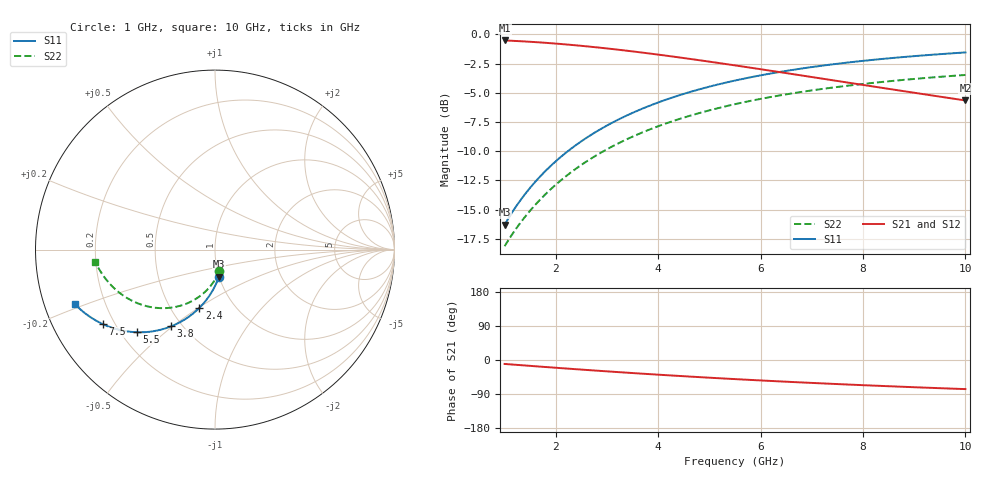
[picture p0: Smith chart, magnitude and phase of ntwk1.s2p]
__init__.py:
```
"""
data (:mod:`skrf.data`)
========================================

This Package provides data to be used in examples and testcases.

Material Properties
-------------------
.. autosummary::
   :toctree: generated/

    materials

Example/Test Networks
---------------------
.. autosummary::
   :toctree: generated/

    ring_slot
    ring_slot_meas
    line
    tee
    ind
    open_2p
    short_2p

"""
from __future__ import annotations

import os
from typing import TYPE_CHECKING

from ..io.general import read
from ..network import Network

if TYPE_CHECKING:
    from ..calibration import Calibration

pwd = os.path.dirname(os.path.abspath(__file__))

class StaticData:

    @property
    def ntwk1(self) -> Network:
        return Network(os.path.join(pwd, 'ntwk1.s2p'))

    @property
    def line(self) -> Network:
        """ 2-Port Network: 'line',  75.0-110.0 GHz, 201 pts, z0=[50.+0.j 50.+0.j] """
        return Network(os.path.join(pwd, 'line.s2p'))

    @property
    def open_2p(self) -> Network:
        """ 2-Port Network: 'open',  1000000000.0-10000000000.0 Hz, 10 pts, z0=[50.+0.j 50.+0.j] """
        return Network(os.path.join(pwd, 'open.s2p'))

    @property
    def short_2p(self) -> Network:
        """ 2-Port Network: 'short',  1000000000.0-10000000000.0 Hz, 10 pts, z0=[50.+0.j 50.+0.j] """
        return Network(os.path.join(pwd, 'short.s2p'))

    @property
    def ind(self) -> Network:
        """ Measured 1 nH series inductor (with parasitics) """
        return Network(os.path.join(pwd, 'ind.s2p'))

    @property
    def ring_slot(self) -> Network:
        """ 2-Port Network: 'ring slot',  75.0-110.0 GHz, 201 pts, z0=[50.+0.j 50.+0.j] """
        return Network(os.path.join(pwd, 'ring slot.s2p'))

    @property
    def tee(self) -> Network:
        """ 3-Port Network: 'tee',  330.0-500.0 GHz, 201 pts, z0=[50.+0.j 50.+0.j 50.+0.j] """
        return Network(os.path.join(pwd, 'tee.s3p'))

    @property
    def ring_slot_meas(self) -> Network:
        """  1-Port Network: 'ring slot measured',  75.0-109.999999992 GHz, 101 pts, z0=[50.+0.j] """
        return Network(os.path.join(pwd, 'ring slot measured.s1p'))

    @property
    def wr2p2_line(self) -> Network:
        return Network(os.path.join(pwd, 'wr2p2,line.s2p'))

    @property
    def wr2p2_line1(self) -> Network:
        return Network(os.path.join(pwd, 'wr2p2,line1.s2p'))

    @property
    def wr2p2_delayshort(self) -> Network:
        return Network(os.path.join(pwd, 'wr2p2,delayshort.s1p'))

    @property
    def wr2p2_short(self) -> Network:
        return Network(os.path.join(pwd, 'wr2p2,short.s1p'))

    @property
    def wr1p5_line(self) -> Network:
        return Network(os.path.join(pwd, 'wr1p5,line.s2p'))

    @property
    def wr1p5_short(self) -> Network:
        return Network(os.path.join(pwd, 'wr1p5,short.s1p'))

    @property
    def ro_1(self) -> Network:
        return Network(os.path.join(pwd, 'ro,1.s1p'))

    @property
    def ro_2(self) -> Network:
        return Network(os.path.join(pwd, 'ro,2.s1p'))

    @property
    def ro_3(self) -> Network:
        return Network(os.path.join(pwd, 'ro,3.s1p'))

    @property
    def one_port_cal(self) -> Calibration:
        return read(os.path.join(pwd, 'one_port.cal'), encoding='latin1')

_data = StaticData()

def __getattr__(name):
    return getattr(_data, name)

#one_port_cal = read(os.path.join(pwd, 'one_port.cal'), encoding='latin1')

mpl_rc_fname = os.path.join(pwd, 'skrf.mplstyle')

# material database (taken from wikipedia)
materials = {
    'copper': {
        'resistivity(ohm*m)': 1.68e-8,
    },
    'aluminum': {
        'resistivity(ohm*m)': 2.82e-8,
    },
    'gold': {
        'resistivity(ohm*m)': 2.44e-8,
    },
    'lead': {
        'resistivity(ohm*m)': 1/4.56e6,  # from pozar appendix F
    },
    'steel(stainless)': {
        'resistivity(ohm*m)': 1/1.1e6,  # from pozar appendix F
    },
    'mylar': {
        'relative permativity': 3.1,
        'loss tangent': 500e-4,
    },
    'quartz': {
        'relative permativity': 3.8,
        'loss tangent': 1.5e-4,
    },
    'silicon': {
        'relative permativity': 11.68,
        'loss tangent': 8e-4,
    },
    'teflon': {
        'relative permativity': 2.1,
        'loss tangent': 5e-4,
    },
    'duroid 5880': {
        'relative permativity': 2.25,
        'loss tangent': 40e-4,
    },
}
"""
materials : Dictionary of materials properties
"""

for k1,k2 in [
    ('cu', 'copper'),
    ('al', 'aluminum'),
    ('au', 'gold')]:
    materials[k1] = materials[k2]
```
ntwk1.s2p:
! Created Thu Nov 11 11:09:06 2010
!Created with skrf (http://scikit-rf.org).
# GHz S RI R 50.0
!freq ReS11 ImS11 ReS21 ImS21 ReS12 ImS12 ReS22 ImS22
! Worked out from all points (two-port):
!   91 points, 1 GHz to 10 GHz, reference 50 ohm
!   highest |S21| = -0.52 dB at 1 GHz (marker M1); lowest = -5.7 dB at 10 GHz (marker M2)
!   |S21| within 3 dB of the highest: start of sweep to 6.804 GHz
!   lowest |S11| = -16.3 dB at 1 GHz (marker M3), VSWR 1.36, Z = 49.8 - j15.5 ohm
!   |S11| at or under -10 dB: start of sweep to 2.236 GHz
!   |S22| runs from -18.1 to -3.5 dB; largest |S21 - S12| = 0
!   S11 on the Smith chart (normalised r, x): 1 GHz: 1.00, -0.31; 2.4 GHz: 0.69, -0.50; 3.8 GHz: 0.44, -0.49; 5.5 GHz: 0.26, -0.40; 7.5 GHz: 0.16, -0.30; 10 GHz: 0.09, -0.19
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1  0.0218 -0.1515  0.9267 -0.1701  0.9267 -0.1701  0.0235 -0.1217
1.3  0.00459 -0.1937  0.9097 -0.2179  0.9097 -0.2179  0.00742 -0.1551
1.6  -0.0164 -0.2335  0.8888 -0.2633  0.8888 -0.2633  -0.0122 -0.1861
2.4  -0.0877 -0.325  0.8179 -0.3702  0.8179 -0.3702  -0.0784 -0.255
3.1  -0.1629 -0.3856  0.7432 -0.4443  0.7432 -0.4443  -0.1478 -0.2963
3.8  -0.2437 -0.4273  0.6627 -0.5  0.6627 -0.5  -0.2218 -0.3197
4.6  -0.3369 -0.4536  0.5696 -0.5425  0.5696 -0.5425  -0.3061 -0.326
5.5  -0.4367 -0.4604  0.4696 -0.5678  0.4696 -0.5678  -0.3947 -0.3114
7.5  -0.6226 -0.4161  0.2818 -0.5656  0.2818 -0.5656  -0.5519 -0.2241
8.7  -0.7076 -0.3669  0.1946 -0.5419  0.1946 -0.5419  -0.6176 -0.1518
10  -0.7796 -0.3049  0.1192 -0.5077  0.1192 -0.5077  -0.6672 -0.067
